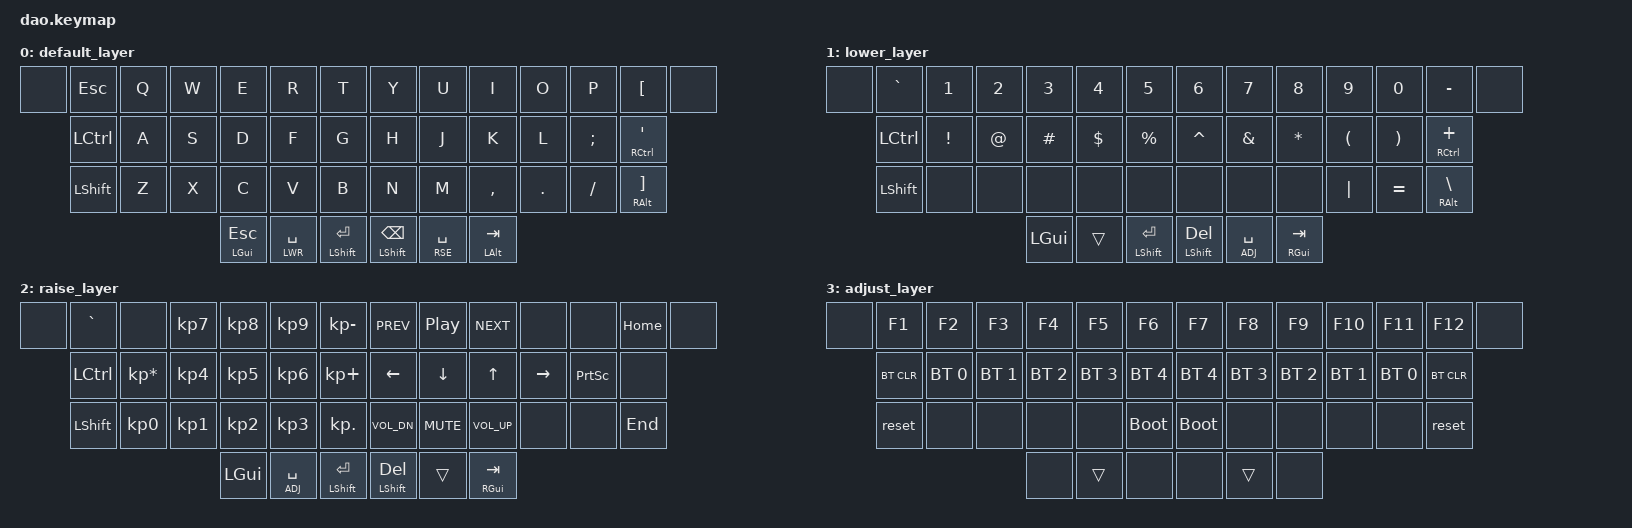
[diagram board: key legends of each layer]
/*
 * Copyright (c) 2021 Rafael Yumagulov
 *
 * SPDX-License-Identifier: MIT
 */

#include <behaviors.dtsi>
#include <dt-bindings/zmk/keys.h>
#include <dt-bindings/zmk/bt.h>

#define DEF 0
#define LWR 1
#define RSE 2
#define ADJ 3

&lt { quick_tap_ms = <200>; };
&mt { quick_tap_ms = <200>; };

/ {
        keymap {
                compatible = "zmk,keymap";

                default_layer {
//         .----------------------------------------------------------------------.          .------------------------------------------------------------------------.
//         |     ESC      |    Q    |    W   |     E     |     R     |      T     |          |     Y      |   U       |     I     |    O    |     P    |        [{   |
//         |--------------+---------+--------+-----------+-----------+------------|          |------------+-----------+-----------+---------+----------+-------------|
//         |     CTRL     |    A    |    S   |     D     |     F     |      G     |          |     H      |   J       |     K     |    L    |    : ;   | CTRL | '"   |
//         |--------------+---------+--------+-----------+-----------+------------|          |------------+-----------+-----------+---------+----------+-------------|
//         |     SHIFT    |    Z    |    X   |     C     |     V     |      B     |          |     N      |   M       |    , <    |   . >   |    / ?   |  ALT |  ]}  |
//         '---------------------------------+-----------+-----------+------------+          |------------+-----------+-----------+----------------------------------'
//                                           | GUI | ESC | LWR | SPC | SHFT | ENT |          | SHFT | BCK | RSE | SPC | ALT | TAB |
//                                           '-----------+-----------+------------'          '------------+-----------+-----------' 
                        bindings = <
  &none     &kp ESC       &kp Q   &kp W    &kp E         &kp R            &kp T                &kp Y           &kp U           &kp I         &kp O     &kp P      &kp LBKT        &none
            &kp LCTRL     &kp A   &kp S    &kp D         &kp F            &kp G                &kp H           &kp J           &kp K         &kp L     &kp SEMI   &mt RCTRL SQT
            &kp LSHFT     &kp Z   &kp X    &kp C         &kp V            &kp B                &kp N           &kp M           &kp COMMA     &kp DOT   &kp FSLH   &mt RALT RBKT
                                           &mt LGUI ESC  &lt LWR SPACE    &mt LSHFT RET        &mt LSHFT BSPC  &lt RSE SPACE   &mt LALT TAB
                        >;
                };

                lower_layer {
//         .----------------------------------------------------------------------.          .-----------------------------------------------------------------------.
//         |       ~      |    1    |   2    |     3     |    4      |     5      |          |     6      |    7      |     8     |    9    |    0     |     -       |
//         |--------------+---------+--------+-----------+-----------+------------|          |------------+-----------+-----------+---------+----------+-------------|
//         |     CTRL     |    !    |   @    |     #     |    $      |     %      |          |     ^      |    &      |     *     |    (    |    )     |     +       |
//         |--------------+---------+--------+-----------+-----------+------------|          |------------+-----------+-----------+---------+----------+-------------|
//         |     SHIFT    |         |        |           |           |            |          |            |           |           |    |    |    =     |     \       |
//         '---------------------------------+-----------+-----------+------------+          |------------+-----------+-----------+----------------------------------'
//                                           | GUI | ESC |           | SHFT | ENT |          | SHFT | DEL | ADJ | SPC | GUI | TAB |
//                                           '-----------+-----------+------------'          '------------+-----------+-----------'
                        bindings = <
  &none     &kp GRAVE     &kp N1     &kp N2   &kp N3        &kp N4     &kp N5              &kp N6         &kp N7          &kp N8        &kp N9     &kp N0     &kp MINUS           &none
            &kp LCTRL     &kp EXCL   &kp AT   &kp HASH      &kp DLLR   &kp PRCNT           &kp CARET      &kp AMPS        &kp STAR      &kp LPAR   &kp RPAR   &mt RCTRL PLUS
            &kp LSHFT     &none      &none    &none         &none      &none               &none          &none           &none         &kp PIPE   &kp EQUAL  &mt RALT BSLH
                                              &kp LGUI      &trans     &mt LSHFT RET       &mt LSHFT DEL  &lt ADJ SPACE   &mt RGUI TAB 
                        >;
                };

                raise_layer {
//         .----------------------------------------------------------------------.          .-----------------------------------------------------------------------.
//         |      ~       |         |    7   |     8     |    9      |      -     |          |    PREV    |   P/P     |    NEXT   |         |          |     HOME    |
//         |--------------+---------+--------+-----------+-----------+------------|          |------------+-----------+-----------+---------+----------+-------------|
//         |     CTRL     |    *    |    4   |     5     |    6      |      +     |          |    LEFT    |  DOWN     |    UP     |  RIGHT  |   PSCRN  |             |
//         |--------------+---------+--------+-----------+-----------+------------|          |------------+-----------+-----------+---------+----------+-------------|
//         |     SHIFT    |    0    |    1   |     2     |    3      |      .     |          |    V_DN    |  MUTE     |    V_UP   |         |          |     END     |
//         '---------------------------------+-----------+-----------+------------+          |------------+-----------+-----------+----------------------------------'
//                                           | GUI | ESC | ADJ | SPC | SHFT | ENT |          | SHFT | DEL |           | GUI | TAB |
//                                           '-----------+-----------+------------'          '------------+-----------+-----------'
                        bindings = <
  &none     &kp GRAVE     &none             &kp KP_N7   &kp KP_N8   &kp KP_N9        &kp KP_MINUS        &kp C_PREV     &kp C_PP      &kp C_NEXT       &none       &none       &kp HOME   &none
            &kp LCTRL     &kp KP_MULTIPLY   &kp KP_N4   &kp KP_N5   &kp KP_N6        &kp KP_PLUS         &kp LEFT       &kp DOWN      &kp UP           &kp RIGHT   &kp PSCRN   &none
            &kp LSHFT     &kp KP_N0         &kp KP_N1   &kp KP_N2   &kp KP_N3        &kp KP_DOT          &kp C_VOL_DN   &kp C_MUTE    &kp C_VOL_UP     &none       &none       &kp END 
                                                        &kp LGUI    &lt ADJ SPACE    &mt LSHFT RET       &mt LSHFT DEL  &trans        &mt RGUI TAB
                        >;
                };

                adjust_layer {
//         .--------------------------------------------------------------------.          .---------------------------------------------------------------------.
//         |      F1      |    F2   |   F3   |    F4     |   F5    |    F6      |          |     F7     |   F8    |    F9     |   F10   |   F11    |     F12     |
//         |--------------+---------+--------+-----------+---------+------------|          |------------+---------+-----------+---------+----------+-------------|
//         |    BTCLEAR   |    B0   |   B1   |    B2     |   B3    |    B4      |          |     B4     |   B3    |    B2     |   B1    |   B0     |   BTCLEAR   |
//         |--------------+---------+--------+-----------+---------+------------|          |------------+---------+-----------+---------+----------+-------------|
//         |     RESET    |         |        |           |         |   BOOT     |          |    BOOT    |         |           |         |          |    RESET    |
//         '---------------------------------+-----------+---------+------------+          |------------+---------+-----------+----------------------------------'
//                                           |           |         |            |          |            |         |           |
//                                           '-----------+---------+------------'          '------------+---------+-----------'
                        bindings = <
  &none   &kp F1        &kp F2         &kp F3         &kp F4         &kp F5         &kp F6              &kp F7         &kp F8         &kp F9         &kp F10        &kp F11        &kp F12           &none
          &bt BT_CLR    &bt BT_SEL 0   &bt BT_SEL 1   &bt BT_SEL 2   &bt BT_SEL 3   &bt BT_SEL 4        &bt BT_SEL 4   &bt BT_SEL 3   &bt BT_SEL 2   &bt BT_SEL 1   &bt BT_SEL 0   &bt BT_CLR
          &reset        &none          &none          &none          &none          &bootloader         &bootloader    &none          &none          &none          &none          &reset
                                                      &none          &trans         &none               &none          &trans         &none 
                        >;
                };
        };
};
